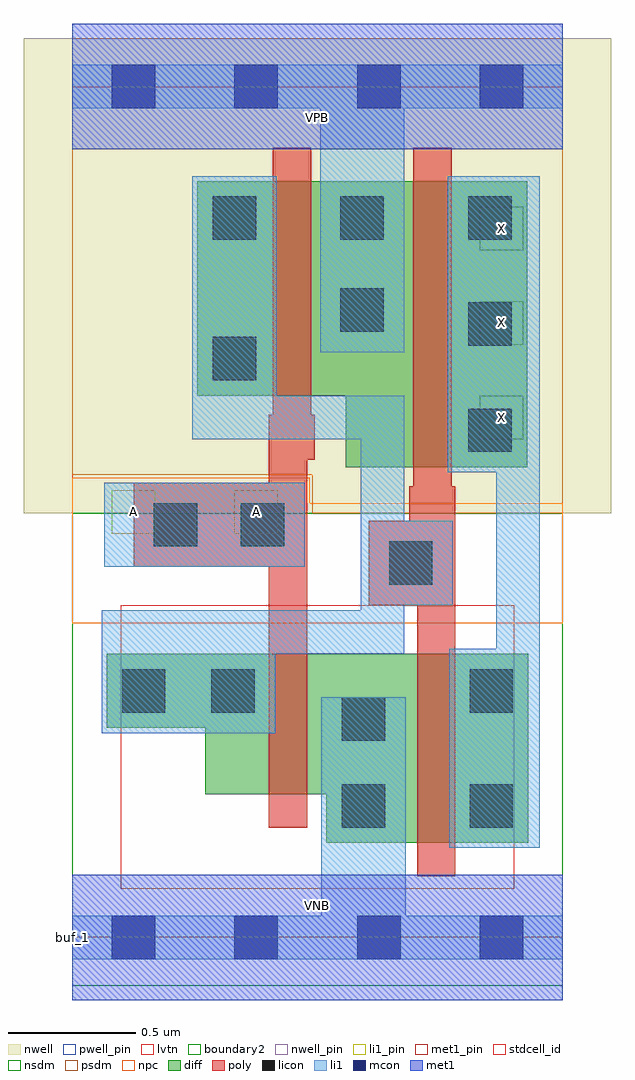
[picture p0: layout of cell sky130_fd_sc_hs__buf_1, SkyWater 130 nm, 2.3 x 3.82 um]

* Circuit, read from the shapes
.subckt sky130_fd_sc_hs__buf_1 A VGND VNB VPB VPWR X
XM1 VGND A n1 VNB sky130_fd_pr__nfet_01v8_lvt w=0.55 l=0.15
XM2 X n1 VGND VNB sky130_fd_pr__nfet_01v8_lvt w=0.74 l=0.15
XM3 VPWR A n1 VPB sky130_fd_pr__pfet_01v8 w=0.84 l=0.15
XM4 X n1 VPWR VPB sky130_fd_pr__pfet_01v8 w=1.12 l=0.15
.ends

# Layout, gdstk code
import gdstk
lib = gdstk.Library(unit=1e-6, precision=1e-09)
def R(c, l, rs):  # rectangles x0, y0, x1, y1
    for r in rs: c.add(gdstk.rectangle(r[:2], r[2:], *l))
def A(c, l, x, y, w, h, nx, ny, dx, dy):  # array of equal rectangles
    R(c, l, [(x+i*dx, y+j*dy, x+i*dx+w, y+j*dy+h) for i in range(nx) for j in range(ny)])
def P(c, l, *ps):  # polygons
    for p in ps: c.add(gdstk.Polygon(p, *l))
nwell_pin = (64, 16)
nwell = (64, 20)
diff = (65, 20)
poly = (66, 20)
licon = (66, 44)
li1_pin = (67, 16)
li1 = (67, 20)
mcon = (67, 44)
met1_pin = (68, 16)
met1 = (68, 20)
stdcell_id = (81, 4)
nsdm = (93, 44)
psdm = (94, 20)
npc = (95, 20)
pwell_pin = (122, 16)
lvtn = (125, 44)
boundary2 = (236, 0)

sky130_fd_sc_hs__buf_1 = lib.new_cell('sky130_fd_sc_hs__buf_1')
R(sky130_fd_sc_hs__buf_1, nwell_pin, [(0,3.085,1.92,3.33)])
R(sky130_fd_sc_hs__buf_1, nwell, [(-0.19,1.66,2.11,3.52)])
P(sky130_fd_sc_hs__buf_1, diff, [(1.78,2.96),(0.49,2.96),(0.49,2.12),(1.07,2.12),(1.07,1.84),(1.78,1.84)],
  [(1.785,1.11),(0.135,1.11),(0.135,0.82),(0.52,0.82),(0.52,0.56),(0.995,0.56),(0.995,0.37),(1.785,0.37)])
P(sky130_fd_sc_hs__buf_1, poly, [(1.5,1.765),(1.485,1.765),(1.485,3.09),(1.335,3.09),(1.335,1.765),(1.32,1.765),(1.32,1.63),(1.16,1.63),(1.16,1.3),(1.35,1.3),(1.35,0.24),(1.5,0.24)],
  [(0.95,2.045),(0.935,2.045),(0.935,3.09),(0.785,3.09),(0.785,2.045),(0.77,2.045),(0.77,1.78),(0.24,1.78),(0.24,1.45),(0.77,1.45),(0.77,0.43),(0.92,0.43),(0.92,1.87),(0.95,1.87)])
A(sky130_fd_sc_hs__buf_1, licon, 0.55, 2.73, 0.17, 0.17, 3, 1, 0.5, 0)
R(sky130_fd_sc_hs__buf_1, licon, [(1.055,0.43,1.225,0.6), (1.555,0.43,1.725,0.6), (1.055,0.77,1.225,0.94), (0.195,0.88,0.365,1.05), (0.545,0.88,0.715,1.05), (1.555,0.88,1.725,1.05), (1.24,1.38,1.41,1.55), (0.32,1.53,0.49,1.7), (0.66,1.53,0.83,1.7), (1.55,1.9,1.72,2.07), (0.55,2.18,0.72,2.35), (1.55,2.315,1.72,2.485), (1.05,2.37,1.22,2.54)])
A(sky130_fd_sc_hs__buf_1, li1_pin, 1.595, 1.95, 0.17, 0.17, 1, 3, 0, 0.37)
R(sky130_fd_sc_hs__buf_1, li1_pin, [(0.155,1.58,0.325,1.75), (0.635,1.58,0.805,1.75)])
R(sky130_fd_sc_hs__buf_1, li1, [(0.125,1.45,0.91,1.78)])
P(sky130_fd_sc_hs__buf_1, li1, [(0.97,2.29),(0.97,3.245),(0,3.245),(0,3.415),(1.92,3.415),(1.92,3.245),(1.3,3.245),(1.3,2.29)],
  [(0.975,0.085),(0.975,0.94),(1.305,0.94),(1.305,0.085),(1.92,0.085),(1.92,-0.085),(0,-0.085),(0,0.085)],
  [(0.115,0.8),(0.115,1.28),(1.13,1.28),(1.13,1.95),(0.47,1.95),(0.47,2.98),(0.8,2.98),(0.8,2.12),(1.3,2.12),(1.3,1.63),(1.49,1.63),(1.49,1.3),(1.3,1.3),(1.3,1.11),(0.795,1.11),(0.795,0.8)],
  [(1.66,1.13),(1.66,1.82),(1.47,1.82),(1.47,2.98),(1.83,2.98),(1.83,0.35),(1.475,0.35),(1.475,1.13)])
A(sky130_fd_sc_hs__buf_1, mcon, 0.155, -0.085, 0.17, 0.17, 4, 2, 0.48, 3.33)
R(sky130_fd_sc_hs__buf_1, met1_pin, [(0,0,1.92,0.245), (0,3.085,1.92,3.33)])
R(sky130_fd_sc_hs__buf_1, met1, [(0,-0.245,1.92,0.245), (0,3.085,1.92,3.575)])
R(sky130_fd_sc_hs__buf_1, stdcell_id, [(0,0,1.92,3.33)])
R(sky130_fd_sc_hs__buf_1, nsdm, [(0,-0.19,1.92,1.66)])
P(sky130_fd_sc_hs__buf_1, psdm, [(1.92,3.52),(0,3.52),(0,1.81),(0.94,1.81),(0.94,1.66),(1.92,1.66)])
P(sky130_fd_sc_hs__buf_1, npc, [(1.92,1.7),(0.93,1.7),(0.93,1.8),(0,1.8),(0,1.23),(1.92,1.23)])
R(sky130_fd_sc_hs__buf_1, pwell_pin, [(0,0,1.92,0.245)])
R(sky130_fd_sc_hs__buf_1, lvtn, [(0.19,0.19,1.73,1.3)])
R(sky130_fd_sc_hs__buf_1, boundary2, [(0,0,1.92,3.33)])
sky130_fd_sc_hs__buf_1.add(gdstk.Label('buf_1', (0,0), layer=83, texttype=44))
sky130_fd_sc_hs__buf_1.add(gdstk.Label('VNB', (0.96,0.123), layer=64, texttype=59))
sky130_fd_sc_hs__buf_1.add(gdstk.Label('VPB', (0.96,3.208), layer=64, texttype=5))
sky130_fd_sc_hs__buf_1.add(gdstk.Label('VPWR', (0.96,3.208), layer=68, texttype=5))
sky130_fd_sc_hs__buf_1.add(gdstk.Label('VGND', (0.96,0.123), layer=68, texttype=5))
sky130_fd_sc_hs__buf_1.add(gdstk.Label('A', (0.24,1.665), layer=67, texttype=5))
sky130_fd_sc_hs__buf_1.add(gdstk.Label('A', (0.72,1.665), layer=67, texttype=5))
sky130_fd_sc_hs__buf_1.add(gdstk.Label('X', (1.68,2.035), layer=67, texttype=5))
sky130_fd_sc_hs__buf_1.add(gdstk.Label('X', (1.68,2.405), layer=67, texttype=5))
sky130_fd_sc_hs__buf_1.add(gdstk.Label('X', (1.68,2.775), layer=67, texttype=5))

lib.write_gds('sky130_fd_sc_hs__buf_1.gds')
